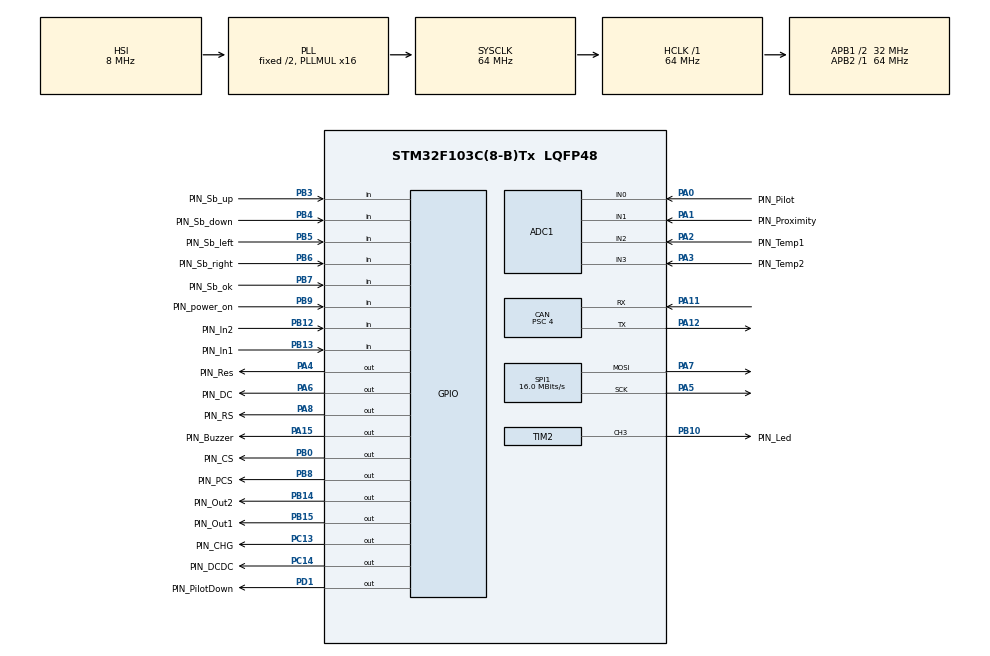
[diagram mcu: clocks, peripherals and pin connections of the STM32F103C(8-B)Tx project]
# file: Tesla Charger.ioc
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ADC1.Channel-0\#ChannelRegularConversion=ADC_CHANNEL_0
ADC1.NbrOfConversionFlag=1
ADC1.Rank-0\#ChannelRegularConversion=1
ADC1.SamplingTime-0\#ChannelRegularConversion=ADC_SAMPLETIME_1CYCLE_5
ADC1.master=1
CAN.ABOM=DISABLE
CAN.AWUM=DISABLE
CAN.BS1=CAN_BS1_13TQ
CAN.BS2=CAN_BS2_2TQ
CAN.CalculateBaudRate=500000
CAN.CalculateTimeBit=2000
CAN.CalculateTimeQuantum=125.0
CAN.Mode=CAN_MODE_NORMAL
CAN.NART=ENABLE
CAN.Prescaler=4
CAN.RFLM=DISABLE
CAN.SJW=CAN_SJW_1TQ
CAN.TTCM=DISABLE
CAN.TXFP=ENABLE
Mcu.Family=STM32F1
Mcu.Name=STM32F103C(8-B)Tx
Mcu.Package=LQFP48
NVIC.CAN1_SCE_IRQn=true\:0\:0\:true\:false\:true\:true\:true\:true
NVIC.PriorityGroup=NVIC_PRIORITYGROUP_4
NVIC.TIM1_UP_IRQn=true\:0\:0\:true\:false\:true\:true\:true\:true
NVIC.USB_LP_CAN1_RX0_IRQn=true\:0\:0\:true\:false\:true\:true\:true\:true
PA0-WKUP.GPIO_Label=PIN_Pilot
PA0-WKUP.Signal=ADCx_IN0
PA1.GPIO_Label=PIN_Proximity
PA1.Signal=ADCx_IN1
PA11.GPIO_PuPd=GPIO_PULLUP
PA11.Mode=CAN_Activate
PA11.Signal=CAN_RX
PA12.Mode=CAN_Activate
PA12.Signal=CAN_TX
PA13.Mode=Serial_Wire
PA13.Signal=SYS_JTMS-SWDIO
PA14.Mode=Serial_Wire
PA14.Signal=SYS_JTCK-SWCLK
PA15.GPIO_Label=PIN_Buzzer
PA15.Signal=GPIO_Output
PA2.GPIO_Label=PIN_Temp1
PA2.Signal=ADCx_IN2
PA3.GPIO_Label=PIN_Temp2
PA3.Signal=ADCx_IN3
PA4.GPIO_Label=PIN_Res
PA4.Signal=GPIO_Output
PA5.Mode=TX_Only_Simplex_Unidirect_Master
PA5.Signal=SPI1_SCK
PA6.GPIO_Label=PIN_DC
PA6.Signal=GPIO_Output
PA7.Mode=TX_Only_Simplex_Unidirect_Master
PA7.Signal=SPI1_MOSI
PA8.GPIO_Label=PIN_RS
PA8.Signal=GPIO_Output
PB0.GPIO_Label=PIN_CS
PB0.Signal=GPIO_Output
PB10.GPIO_Label=PIN_Led
PB10.Signal=S_TIM2_CH3
PB12.GPIO_Label=PIN_In2
PB12.Signal=GPIO_Input
PB13.GPIO_Label=PIN_In1
PB13.Signal=GPIO_Input
PB14.GPIO_Label=PIN_Out2
PB14.Signal=GPIO_Output
PB15.GPIO_Label=PIN_Out1
PB15.Signal=GPIO_Output
PB3.GPIO_Label=PIN_Sb_up
PB3.GPIO_PuPd=GPIO_PULLUP
PB3.Signal=GPIO_Input
PB4.GPIO_Label=PIN_Sb_down
PB4.GPIO_PuPd=GPIO_PULLUP
PB4.Signal=GPIO_Input
PB5.GPIO_Label=PIN_Sb_left
PB5.GPIO_PuPd=GPIO_PULLUP
PB5.Signal=GPIO_Input
PB6.GPIO_Label=PIN_Sb_right
PB6.GPIO_PuPd=GPIO_PULLUP
PB6.Signal=GPIO_Input
PB7.GPIO_Label=PIN_Sb_ok
PB7.GPIO_PuPd=GPIO_PULLUP
PB7.Signal=GPIO_Input
PB8.GPIO_Label=PIN_PCS
PB8.Signal=GPIO_Output
PB9.GPIO_Label=PIN_power_on
PB9.GPIO_PuPd=GPIO_PULLUP
PB9.Signal=GPIO_Input
PC13-TAMPER-RTC.GPIO_Label=PIN_CHG
PC13-TAMPER-RTC.Signal=GPIO_Output
PC14-OSC32_IN.GPIO_Label=PIN_DCDC
PC14-OSC32_IN.Signal=GPIO_Output
PD1-OSC_OUT.GPIO_Label=PIN_PilotDown
PD1-OSC_OUT.Signal=GPIO_Output
ProjectManager.HeapSize=0x200
ProjectManager.StackSize=0x400
ProjectManager.TargetToolchain=STM32CubeIDE
RCC.ADCPresc=RCC_ADCPCLK2_DIV8
RCC.AHBFreq_Value=64000000
RCC.APB1CLKDivider=RCC_HCLK_DIV2
RCC.APB1Freq_Value=32000000
RCC.APB1TimFreq_Value=64000000
RCC.APB2Freq_Value=64000000
RCC.APB2TimFreq_Value=64000000
RCC.HCLKFreq_Value=64000000
RCC.PLLMUL=RCC_PLL_MUL16
RCC.SYSCLKFreq_VALUE=64000000
RCC.SYSCLKSource=RCC_SYSCLKSOURCE_PLLCLK
RCC.USBFreq_Value=64000000
SH.ADCx_IN0.0=ADC1_IN0,IN0
SH.ADCx_IN1.0=ADC1_IN1,IN1
SH.ADCx_IN2.0=ADC1_IN2,IN2
SH.ADCx_IN3.0=ADC1_IN3,IN3
SH.S_TIM2_CH3.0=TIM2_CH3,PWM Generation3 CH3
SPI1.BaudRatePrescaler=SPI_BAUDRATEPRESCALER_4
SPI1.CalculateBaudRate=16.0 MBits/s
SPI1.Direction=SPI_DIRECTION_2LINES
SPI1.Mode=SPI_MODE_MASTER
SPI1.VirtualType=VM_MASTER
TIM1.Period=999
TIM1.Prescaler=639
TIM2.Channel-PWM\ Generation3\ CH3=TIM_CHANNEL_3
TIM2.Period=100
TIM2.Prescaler=119
TIM2.Pulse-PWM\ Generation3\ CH3=18
VP_TIM1_VS_ClockSourceINT.Mode=Internal
VP_TIM2_VS_ClockSourceINT.Mode=Internal
board=custom

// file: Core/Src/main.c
/* USER CODE BEGIN Header */
/**
  ******************************************************************************
  * @file           : main.c
  * @brief          : Main program body with Tesla Model 3 PCS logic
  ******************************************************************************
  * @attention
  *
  * Copyright (c) 2024 STMicroelectronics.
  * All rights reserved.
  *
  * This software is licensed under terms that can be found in the LICENSE file
  * in the root directory of this software component.
  * If no LICENSE file comes with this software, it is provided AS-IS.
  *
  ******************************************************************************
  */
/* USER CODE END Header */

#include "main.h"

/* USER CODE BEGIN Includes */
#include "defines.h"
#include "ili9341.h"
#include "pcs_protocol.h"
#include "registers.h"
#include <stdbool.h>
/* USER CODE END Includes */

/* USER CODE BEGIN PD */
#define CAN_TX_QUEUE_SIZE          32U
#define CAN_BUSY_TIMEOUT_MS        100U  // Таймаут зависания Mailbox
#define PCS_WAKE_DELAY_MS          2000U // Время начального пробуждения PCS
#define PCS_READY_TIMEOUT_MS       5000U
#define PCS_RX_TIMEOUT_MS          1000U
#define PCS_HV_RX_TIMEOUT_MS       2500U
#define PCS_HV_MIN_V               276U  // Минимальное рабочее напряжение ВВ батареи
#define PCS_HV_MAX_V               420U  // Максимальное напряжение (расширено под US)
#define PCS_AC_START_MIN_V         180U  // Для этой установки: стабильная сеть 220 В
#define PCS_AC_HOLD_MIN_V          80U   // Гистерезис отключения при пропадании сети
#define PCS_AC_STABLE_MS           1000U
#define PCS_AC_DROP_MS             500U
#define CHARGE_RAMP_STEP_W         10U   // Шаг плавного набора мощности заряда (Ваты)
#define CHARGE_RAMP_DOWN_STEP_W    100U  // Снижение мощности быстрее повышения
#define CHARGE_CURRENT_MAX_A       16U   // Жёсткий предел запроса этой прошивки
#define CHARGE_OVERCURRENT_MARGIN_A 2U  // CAN guard; не заменяет автомат/предохранитель
#define CHARGE_CABLE_CAPABILITY_A  32U   // Паспорт кабеля, не команда тока
#define CHARGE_UI_CAPABILITY_A     48U   // UI capability из эталонного профиля
#define CHARGE_NOMINAL_AC_V        230U  // Подстановка только до первого валидного 0x264
#define CHARGE_AC_MAX_V            260U  // Защита расчёта от ошибочного значения CAN
#define CHARGE_PHYSICAL_POWER_MAX_W 4000U // Реальная цель остаётся не выше 16 А
#define PCS_CHARGE_PORT_PROFILE    PCS_CHARGE_PORT_EU // Euro IEC, менять только без AC
#define PCS_2B2_START_SHORT        0U    // Этот PCS требует новый формат DLC 5
#define AUTO_CHARGE_FROM_AC        1U    // Нет charge port/EVSE: старт по реальному 0x264
#define FIRMWARE_LABEL             "PCS 0.1 EU"
/* USER CODE END PD */

ADC_HandleTypeDef hadc1;
CAN_HandleTypeDef hcan;
SPI_HandleTypeDef hspi1;
TIM_HandleTypeDef htim1;
TIM_HandleTypeDef htim2;

/* USER CODE BEGIN PV */
typedef enum
{
  PCS_STATE_BOOT = 0,
  PCS_STATE_STANDBY = 1,
  PCS_STATE_WAIT_READY = 2,
  PCS_STATE_RAMP = 3,
  PCS_STATE_CHARGING = 4,
  PCS_STATE_FAULT_CAN = 10,
  PCS_STATE_FAULT_HV = 11,
  PCS_STATE_FAULT_AC = 12,
  PCS_STATE_FAULT_PCS = 13,
  PCS_STATE_FAULT_OVERCURRENT = 14
} PCS_ControlState;

typedef struct
{
  CAN_TxHeaderTypeDef header;
  uint8_t data[8];
} CAN_QueuedFrame;

static CAN_QueuedFrame canTxQueue[CAN_TX_QUEUE_SIZE];
static uint8_t canTxHead = 0;
static uint8_t canTxTail = 0;

static volatile _Bool task10ms = false;
static volatile _Bool task50ms = false;
static volatile _Bool task100ms = false;
static volatile uint32_t schedulerMisses = 0;

static volatile uint32_t canTxOk = 0;
static volatile uint32_t canTxErrors = 0;
static volatile uint32_t canTxQueueOverflows = 0;
static volatile uint32_t canErrorEvents = 0;
static volatile uint32_t canLastError = 0;
static volatile uint32_t canLastEsr = 0;
static volatile uint32_t canHardwareResets = 0;

static volatile uint32_t lastPcsRxMs = 0;
static volatile uint32_t last204Ms = 0;
static volatile uint32_t last224Ms = 0;
static volatile uint32_t last264Ms = 0;
static volatile uint32_t last2B4Ms = 0;
static volatile uint32_t last2C4Ms = 0;
static volatile uint32_t rx204Count = 0;
static volatile uint32_t rx224Count = 0;
static volatile uint32_t rx264Count = 0;
static volatile uint32_t rx2B4Count = 0;
static volatile uint32_t rx2C4Count = 0;
static uint32_t lastMailboxFreeMs = 0;

static PCS_ControlState controlState = PCS_STATE_BOOT;
static uint32_t stateEnteredMs = 0;
static uint8_t buttonStable = 1;
static uint8_t buttonSample = 1;
static uint8_t buttonDebounceCount = 0;
static uint32_t acPresentSinceMs = 0;
static uint32_t acAbsentSinceMs = 0;
static _Bool autoStartArmed = true;

/* USER CODE END PV */

void SystemClock_Config(void);
static void MX_GPIO_Init(void);
static void MX_ADC1_Init(void);
static void MX_CAN_Init(void);
static void MX_SPI1_Init(void);
static void MX_TIM1_Init(void);
static void MX_TIM2_Init(void);
/* USER CODE BEGIN PFP */
static void set_control_state(PCS_ControlState newState);
static _Bool elapsed_ms(uint32_t since, uint32_t interval);
static _Bool can_queue_frame(CAN_TxHeaderTypeDef *pHeader, uint8_t *pData);
static void can_service_tx(void);
static void PCS_cksum_local(uint8_t *data, uint16_t id);
static void control_step_100ms(void);
static void sample_charge_button(void);
static void update_auto_charge_request(_Bool acStartValid, _Bool acHoldValid);
static void update_charge_setpoints(void);
static _Bool ramp_charge_power(void);
static void stop_charge(void);
static void apply_output_state(void);
void send_mes_10(void);
void send_mes_50(void);
void send_mes_100(void);
void get_HV(void);
/* USER CODE END PFP */

/* USER CODE BEGIN 0 */
static void set_control_state(PCS_ControlState newState)
{
  controlState = newState;
  stateEnteredMs = HAL_GetTick();
}

static _Bool elapsed_ms(uint32_t since, uint32_t interval)
{
  return (uint32_t)(HAL_GetTick() - since) >= interval;
}

static _Bool can_queue_frame(CAN_TxHeaderTypeDef *pHeader, uint8_t *pData)
{
  uint32_t primask = __get_PRIMASK();
  __disable_irq();

  uint8_t next = (uint8_t)((canTxHead + 1U) % CAN_TX_QUEUE_SIZE);
  if (next == canTxTail)
  {
    canTxQueueOverflows++;
    if (primask == 0U) { __enable_irq(); }
    return false;
  }

  canTxQueue[canTxHead].header = *pHeader;
  uint8_t dlc = (pHeader->DLC > 8) ? 8 : pHeader->DLC;
  for (uint8_t i = 0; i < dlc; i++)
  {
    canTxQueue[canTxHead].data[i] = pData[i];
  }
  canTxHead = next;

  if (primask == 0U) { __enable_irq(); }
  return true;
}

static void can_service_tx(void)
{
  uint32_t now = HAL_GetTick();

  // 1. Проверяем наличие свободных ящиков (Mailboxes) в контроллере CAN
  if (HAL_CAN_GetTxMailboxesFreeLevel(&hcan) > 0U)
  {
    lastMailboxFreeMs = now;
  }
  else
  {
    // Если все ящики заняты дольше таймаута (Bus-Off или зависание шины) — сбрасываем запросы
    if ((now - lastMailboxFreeMs) > CAN_BUSY_TIMEOUT_MS)
    {
      canHardwareResets++;
      HAL_CAN_AbortTxRequest(&hcan, CAN_TX_MAILBOX0 | CAN_TX_MAILBOX1 | CAN_TX_MAILBOX2);

      __disable_irq();
      canTxTail = canTxHead; // Очищаем кольцевой буфер очереди
      __enable_irq();

      lastMailboxFreeMs = HAL_GetTick();
      return;
    }
  }

  // 2. Цикл отправки пакетов из кольцевого буфера очереди в физическую шину
  while (canTxTail != canTxHead)
  {
    // Если в железе STM32 временно кончились свободные почтовые ящики — прерываем цикл до следующего вызова
    if (HAL_CAN_GetTxMailboxesFreeLevel(&hcan) == 0U)
    {
      break;
    }

    uint32_t mailbox = 0;

    // СТРОГО СТАНДАРТНЫЙ ВЫЗОВ HAL. Все экспериментальные хаки TIR удалены!
    // Драйвер HAL сам корректно разложит байты мощности пакета 0x2B2 по регистрам данных.
    HAL_StatusTypeDef status = HAL_CAN_AddTxMessage(
        &hcan,
        &canTxQueue[canTxTail].header,
        canTxQueue[canTxTail].data,
        &mailbox);

    if (status == HAL_OK)
    {
      // Пакет успешно скопирован в железный ящик микросхемы и улетит в сеть автоматически
      canTxTail = (uint8_t)((canTxTail + 1U) % CAN_TX_QUEUE_SIZE);
      canTxOk++;
    }
    else if (status == HAL_BUSY)
    {
      break;
    }
    else
    {
      // Обработка критической ошибки отправки
      canTxErrors++;
      canLastError = HAL_CAN_GetError(&hcan);
      canTxTail = (uint8_t)((canTxTail + 1U) % CAN_TX_QUEUE_SIZE);
    }
  }
}

void get_HV(void)
{
  uint16_t cell_med = HVvolts / 0.88;

  if (cell_med >= 420) { cell_SOC = 100; return; }
  if (cell_med >= 414) { cell_SOC = 95;  return; }
  if (cell_med >= 408) { cell_SOC = 90;  return; }
  if (cell_med >= 402) { cell_SOC = 85;  return; }
  if (cell_med >= 396) { cell_SOC = 80;  return; }
  if (cell_med >= 390) { cell_SOC = 75;  return; }
  if (cell_med >= 384) { cell_SOC = 70;  return; }
  if (cell_med >= 378) { cell_SOC = 65;  return; }
  if (cell_med >= 372) { cell_SOC = 60;  return; }
  if (cell_med >= 366) { cell_SOC = 55;  return; }
  if (cell_med >= 360) { cell_SOC = 50;  return; }
  if (cell_med >= 354) { cell_SOC = 45;  return; }
  if (cell_med >= 348) { cell_SOC = 40;  return; }
  if (cell_med >= 342) { cell_SOC = 35;  return; }
  if (cell_med >= 336) { cell_SOC = 30;  return; }
  if (cell_med >= 330) { cell_SOC = 25;  return; }
  if (cell_med >= 324) { cell_SOC = 20;  return; }
  if (cell_med >= 318) { cell_SOC = 15;  return; }
  if (cell_med >= 312) { cell_SOC = 10;  return; }
  if (cell_med >= 306) { cell_SOC = 5;   return; }else{cell_SOC = 0;};

}

void PCS_Send_Power_Request(uint16_t power_watts, uint8_t chg_active)
{
  CAN_TxHeaderTypeDef header = {0};
  uint8_t local_pwr_buffer[5] = {0};
  _Bool enabled = chg_active &&
      (controlState == PCS_STATE_RAMP || controlState == PCS_STATE_CHARGING);

  header.StdId = 0x2B2;
  header.ExtId = 0x00;
  header.RTR = CAN_RTR_DATA;
  header.IDE = CAN_ID_STD;
  header.DLC = PCS_Encode2B2(local_pwr_buffer, power_watts, enabled, Short2B2);
  header.TransmitGlobalTime = DISABLE;

  dbg_tx2B2_dlc = header.DLC;
  for (uint8_t i = 0; i < 5U; i++)
  {
    dbg_tx2B2[i] = local_pwr_buffer[i];
  }

  can_queue_frame(&header, local_pwr_buffer);
}

static void apply_output_state(void)
{
  if (pcs_w)  { pcs_on;  } else { pcs_off;  }
  if (dcdc_w) { dcdc_on; } else { dcdc_off; }
  if (chg_w)  { chg_on;  } else { chg_off;  }
}

static void stop_charge(void)
{
  CHGpwr = 0;
  chg_w = 0;
  apply_output_state();
}

static void sample_charge_button(void)
{
  uint8_t sample = (sb_up == GPIO_PIN_SET) ? 1U : 0U;

  if (sample != buttonSample)
  {
    buttonSample = sample;
    buttonDebounceCount = 0;
    return;
  }

  if (buttonDebounceCount < 3U)
  {
    buttonDebounceCount++;
    return;
  }

  if (buttonStable != buttonSample)
  {
    buttonStable = buttonSample;
    if (buttonStable == 0U)
    {
      chg_request = !chg_request;
      buzzer_on;
      t_buzzer = 2;
    }
  }
}

static void update_auto_charge_request(_Bool acStartValid, _Bool acHoldValid)
{
#if AUTO_CHARGE_FROM_AC
  uint32_t now = HAL_GetTick();

  if (acStartValid)
  {
    acAbsentSinceMs = 0U;
    if (acPresentSinceMs == 0U)
    {
      acPresentSinceMs = (now == 0U) ? 1U : now;
    }

    if (autoStartArmed && (uint32_t)(now - acPresentSinceMs) >= PCS_AC_STABLE_MS)
    {
      chg_request = 1;
      autoStartArmed = false;
      buzzer_on;
      t_buzzer = 2;
    }
  }
  else if (!acHoldValid)
  {
    acPresentSinceMs = 0U;
    if (acAbsentSinceMs == 0U)
    {
      acAbsentSinceMs = (now == 0U) ? 1U : now;
    }

    if ((uint32_t)(now - acAbsentSinceMs) >= PCS_AC_DROP_MS)
    {
      chg_request = 0;
      autoStartArmed = true;
    }
  }
#else
  (void)acStartValid;
  (void)acHoldValid;
#endif
}

static void update_charge_setpoints(void)
{
  uint16_t calculationVoltage = CHARGE_NOMINAL_AC_V;
  uint8_t appliedCurrent = PCS_ClampChargeCurrent(CHGcurrentSetpointA,
                                                   CHARGE_CURRENT_MAX_A);

  if ((ACvolts >= PCS_AC_HOLD_MIN_V) && (ACvolts <= CHARGE_AC_MAX_V))
  {
    calculationVoltage = ACvolts;
  }

  CHGcurrentAppliedA = appliedCurrent;
  ACILim = appliedCurrent;
  CHGdesiredPowerTargetW = PCS_CalculateChargePowerTarget(
      appliedCurrent, calculationVoltage, CHARGE_PHYSICAL_POWER_MAX_W);
  CHGpowerRequestMultiplier = 1U;
  CHGpwrTarget = CHGdesiredPowerTargetW;

  /* Нулевой регистр означает немедленный безопасный запрос 0 W. */
  if (appliedCurrent == 0U)
  {
    CHGpwr = 0U;
  }
}

static _Bool ramp_charge_power(void)
{
  uint16_t rampUpStep = CHARGE_RAMP_STEP_W;
  uint16_t rampDownStep = CHARGE_RAMP_DOWN_STEP_W;

  if (CHGpwr < CHGpwrTarget)
  {
    uint16_t nextPower = (uint16_t)(CHGpwr + rampUpStep);
    CHGpwr = (nextPower > CHGpwrTarget) ? CHGpwrTarget : nextPower;
  }
  else if (CHGpwr > CHGpwrTarget)
  {
    uint16_t delta = (uint16_t)(CHGpwr - CHGpwrTarget);
    CHGpwr = (delta > rampDownStep)
        ? (uint16_t)(CHGpwr - rampDownStep)
        : CHGpwrTarget;
  }

  return CHGpwr == CHGpwrTarget;
}

static void control_step_100ms(void)
{
  uint32_t now = HAL_GetTick();
  _Bool pcsCommsRecent = (lastPcsRxMs != 0U) && ((uint32_t)(now - lastPcsRxMs) < PCS_RX_TIMEOUT_MS);
  _Bool hvRecent = (last2C4Ms != 0U) && ((uint32_t)(now - last2C4Ms) < PCS_HV_RX_TIMEOUT_MS);
  _Bool hvValid = hvRecent && (HVvolts >= PCS_HV_MIN_V) && (HVvolts <= PCS_HV_MAX_V);
  _Bool acRecent = (last264Ms != 0U) && ((uint32_t)(now - last264Ms) < PCS_RX_TIMEOUT_MS);
  _Bool acStartValid = acRecent && (ACvolts >= PCS_AC_START_MIN_V);
  _Bool acHoldValid = acRecent && (ACvolts >= PCS_AC_HOLD_MIN_V);
  _Bool pcsStatusRecent = (last204Ms != 0U) && ((uint32_t)(now - last204Ms) < PCS_RX_TIMEOUT_MS);
  _Bool pcsFault = pcsStatusRecent && ((pcs_main_state == 8U) || (pcs_hv_charge_status == 3U));
  _Bool acOverCurrent;

  update_charge_setpoints();
  acOverCurrent = acRecent && PCS_IsChargeOverCurrent(
      ACamps, CHGcurrentAppliedA, CHARGE_OVERCURRENT_MARGIN_A);
  sample_charge_button();
  update_auto_charge_request(acStartValid, acHoldValid);
  ac_w = acHoldValid;

  switch (controlState)
  {
    case PCS_STATE_BOOT:
      pcs_w = 1;
      dcdc_w = 1;
      chg_w = 0;
      CHGpwr = 0;
      apply_output_state();
      if (elapsed_ms(stateEnteredMs, PCS_WAKE_DELAY_MS))
      {
        set_control_state(PCS_STATE_STANDBY);
      }
      break;

    case PCS_STATE_STANDBY:
      stop_charge();
      if (chg_request)
      {
        dcdc_w = 1;
        chg_w = 0;
        CHGpwr = 0;
        apply_output_state();
        set_control_state(PCS_STATE_WAIT_READY);
      }
      break;

    case PCS_STATE_WAIT_READY:
      if (!chg_request)
      {
        stop_charge();
        set_control_state(PCS_STATE_STANDBY);
      }
      else if (pcsCommsRecent && hvValid && acStartValid && !pcsFault &&
               elapsed_ms(stateEnteredMs, 500U))
      {
        chg_w = 1;
        apply_output_state();
        CHGpwr = 0;
        set_control_state(PCS_STATE_RAMP);
      }
      else if (elapsed_ms(stateEnteredMs, PCS_READY_TIMEOUT_MS))
      {
        chg_request = 0;
        stop_charge();
        if (!pcsCommsRecent)      { set_control_state(PCS_STATE_FAULT_CAN); }
        else if (!hvValid)        { set_control_state(PCS_STATE_FAULT_HV);  }
        else if (!acStartValid)   { set_control_state(PCS_STATE_FAULT_AC);  }
        else                      { set_control_state(PCS_STATE_FAULT_PCS); }
      }
      break;

    case PCS_STATE_RAMP:
      if (!chg_request)
      {
        stop_charge();
        set_control_state(PCS_STATE_STANDBY);
      }
      else if (!pcsCommsRecent)
      {
        chg_request = 0;
        stop_charge();
        set_control_state(PCS_STATE_FAULT_CAN);
      }
      else if (acOverCurrent)
      {
        chg_request = 0;
        stop_charge();
        charge_overcurrent_trip_count++;
        set_control_state(PCS_STATE_FAULT_OVERCURRENT);
      }
      else if (!hvValid)
      {
        chg_request = 0;
        stop_charge();
        set_control_state(PCS_STATE_FAULT_HV);
      }
      else if (pcsFault)
      {
        chg_request = 0;
        stop_charge();
        set_control_state(PCS_STATE_FAULT_PCS);
      }
      else if (!acHoldValid && elapsed_ms(stateEnteredMs, 3000U))
      {
        chg_request = 0;
        stop_charge();
        set_control_state(PCS_STATE_FAULT_AC);
      }
      else if (ramp_charge_power())
      {
        set_control_state(PCS_STATE_CHARGING);
      }
      break;

    case PCS_STATE_CHARGING:
      if (!chg_request)
      {
        stop_charge();
        set_control_state(PCS_STATE_STANDBY);
      }
      else if (acOverCurrent)
      {
        chg_request = 0;
        stop_charge();
        charge_overcurrent_trip_count++;
        set_control_state(PCS_STATE_FAULT_OVERCURRENT);
      }
      else if (!pcsCommsRecent || !hvValid || !acHoldValid || pcsFault)
      {
        chg_request = 0;
        stop_charge();
        if (!pcsCommsRecent)      { set_control_state(PCS_STATE_FAULT_CAN); }
        else if (!hvValid)        { set_control_state(PCS_STATE_FAULT_HV); }
        else if (!acHoldValid)    { set_control_state(PCS_STATE_FAULT_AC); }
        else                      { set_control_state(PCS_STATE_FAULT_PCS); }
      }
      else
      {
        /* Регистр можно менять во время зарядки в обе стороны. */
        ramp_charge_power();
      }
      break;

    case PCS_STATE_FAULT_CAN:
    case PCS_STATE_FAULT_HV:
    case PCS_STATE_FAULT_AC:
    case PCS_STATE_FAULT_PCS:
    case PCS_STATE_FAULT_OVERCURRENT:
      stop_charge();
      if (chg_request)
      {
        set_control_state(PCS_STATE_STANDBY);
      }
      break;

    default:
      chg_request = 0;
      stop_charge();
      set_control_state(PCS_STATE_FAULT_CAN);
      break;
  }
}

void HAL_CAN_RxFifo0MsgPendingCallback(CAN_HandleTypeDef *canHandle)
{
  CAN_RxHeaderTypeDef RxHeader;
  uint8_t RxData[8] = {0};

  if (HAL_CAN_GetRxMessage(canHandle, CAN_RX_FIFO0, &RxHeader, RxData) != HAL_OK)
  {
    return;
  }

  uint32_t now = HAL_GetTick();
  rxmess++;

  if ((RxHeader.StdId == 0x264U) && (RxHeader.DLC >= 6U))
  {
    PCS_ChargeLineStatus line;
    PCS_Decode264(RxData, &line);

    RX264 = 1;
    rx264Count++;
    last264Ms = now;
    lastPcsRxMs = now;
    ac_voltage_raw = line.voltageRaw;
    ac_current_raw = line.currentRaw;
    AClim = line.currentLimitAmps;
    ACpwr = (uint16_t)line.powerDeciKw * 100U; /* Display watts, 0.1 kW/bit. */
    ACvolts = line.voltageVolts;
    ACamps = line.currentAmps;
  }

  if ((RxHeader.StdId == 0x224U) && (RxHeader.DLC >= 7U))
  {
    RX224 = 1;
    rx224Count++;
    last224Ms = now;
    lastPcsRxMs = now;
    dcdc_legacy_current_raw =
        (((uint16_t)RxData[3] << 8) | RxData[2]) & 0x0FFFU;
    if ((last2B4Ms == 0U) || ((uint32_t)(now - last2B4Ms) >= PCS_RX_TIMEOUT_MS))
    {
      DCDCamps = (uint16_t)((dcdc_legacy_current_raw + 5U) / 10U);
    }
    pin_dcdc_status = RxData[6];
  }

  if ((RxHeader.StdId == 0x2B4U) && (RxHeader.DLC >= 5U))
  {
    PCS_DcdcRailStatus rail;
    PCS_Decode2B4(RxData, &rail);

    rx2B4Count++;
    last2B4Ms = now;
    lastPcsRxMs = now;
    dcdc_lv_voltage_raw = rail.lvVoltageRaw;
    dcdc_hv_voltage_raw = rail.hvVoltageRaw;
    dcdc_output_current_raw = rail.outputCurrentRaw;
    DCDCvolts = rail.lvVoltageVolts;
    LVvolts = rail.lvVoltageVolts;
    DCDCamps = rail.outputCurrentAmps;
  }

  /* 0x2C4 belongs to the PCS. Never transmit a synthetic frame with this ID. */
  if ((RxHeader.StdId == 0x2C4U) && (RxHeader.DLC >= 8U))
  {
    uint8_t muxId = RxData[0];
    RX2C4 = 1;
    rx2C4Count++;
    lastPcsRxMs = now;

    if ((muxId == 0xE6U) || (muxId == 0xC6U))
    {
      HVvolts = (uint16_t)((((uint16_t)RxData[3] << 8 | RxData[2]) & 0x0FFFU) * 0.146484f);
      LVvolts = (uint16_t)((((uint16_t)RxData[1] << 9 | RxData[0]) >> 6) * 0.0390625f);
      last2C4Ms = now;
    }
    else if (muxId == 0x04U)
    {
      HVvolts = (uint16_t)(((((uint16_t)RxData[7] << 8 | RxData[6]) >> 3) & 0x0FFFU) * 0.146484f);
      last2C4Ms = now;
    }
  }

  if ((RxHeader.StdId == 0x204U) && (RxHeader.DLC >= 8U))
  {
    PCS_ChargerStatus status;
    PCS_Decode204(RxData, &status);

    rx204Count++;
    last204Ms = now;
    lastPcsRxMs = now;
    pcs_main_state = status.mainState;
    pcs_hv_charge_status = status.hvChargeStatus;
    pcs_grid_config = status.gridConfig;
    pcs_pwm_enable_line = status.pwmEnableLine;
    pcs_hw_variant = status.hardwareVariant;
    pcs_shutdown_request = status.shutdownRequest;
    pcs_instant_ac_power_deci_kw = status.instantAcPowerDeciKw;
    pcs_max_ac_power_deci_kw = status.maximumAcPowerDeciKw;
    pcs_phase_a_request_deci_amps = status.phaseACurrentRequestDeciAmps;
    pcs_phase_b_request_deci_amps = status.phaseBCurrentRequestDeciAmps;
    pcs_phase_c_request_deci_amps = status.phaseCCurrentRequestDeciAmps;
    pcs_active_charge_branches = status.phaseAEnabled + status.phaseBEnabled +
                                 status.phaseCEnabled;
    pcs_ac_current_request_deci_amps =
        PCS_CalculateAcCurrentRequestDeciAmps(&status);
    pcs_ac_current_request_amps =
        (uint8_t)((pcs_ac_current_request_deci_amps + 5U) / 10U);
    pcs_status = status.mainState;
    pin_chg_status = status.pwmEnableLine;
  }

  if ((RxHeader.StdId == 0x76CU) && (RxHeader.DLC >= 8U))
  {
    PCS_ChargePhaseDebug phase;

    rx76CCount++;
    lastPcsRxMs = now;
    pcs_debug_mux76c = RxData[0];
    if (PCS_Decode76CChargePhase(RxData, &phase))
    {
      uint8_t index = phase.phaseIndex;
      pcs_charge_phase_current_raw[index] = phase.currentRaw;
      pcs_charge_phase_current_milliamps[index] = phase.currentMilliAmps;
      rx76CPhaseCount[index]++;
      for (uint8_t i = 0U; i < 8U; i++)
      {
        dbg_rx76C_phase[index][i] = RxData[i];
      }
      pcs_charge_phase_current_total_milliamps =
          (uint16_t)(pcs_charge_phase_current_milliamps[0] +
                     pcs_charge_phase_current_milliamps[1] +
                     pcs_charge_phase_current_milliamps[2]);
    }
  }

  if ((RxHeader.StdId == 0x3A4U) && (RxHeader.DLC >= 8U))
  {
    PCS_AlertMatrixStatus alerts;

    PCS_Decode3A4(RxData, &alerts);
    rx3A4Count++;
    lastPcsRxMs = now;
    pcs_alert_page = alerts.page;

    if (alerts.page < 2U)
    {
      rx3A4PageCount[alerts.page]++;
      for (uint8_t i = 0U; i < 8U; i++)
      {
        dbg_rx3A4_page[alerts.page][i] = RxData[i];
      }
    }

    if (alerts.page == 0U)
    {
      pcs_alert_hvp_mia_active = alerts.hvpMia;
      pcs_alert_bms_mia_active = alerts.bmsMia;
      pcs_alert_cp_mia_active = alerts.cpMia;
      pcs_alert_vcfront_mia_active = alerts.vcfrontMia;
      pcs_alert_charge_power_rationality_active = alerts.chargePowerRationality;
      pcs_alert_can_rationality_active = alerts.canRationality;
      pcs_alert_ui_mia_active = alerts.uiMia;
    }
  }

  if ((RxHeader.StdId == 0x424U) && (RxHeader.DLC >= 1U))
  {
    uint8_t receivedDlc = (RxHeader.DLC > 8U) ? 8U : (uint8_t)RxHeader.DLC;

    rx424Count++;
    lastPcsRxMs = now;
    pcs_last_alert_id = RxData[0];
    dbg_rx424_dlc = receivedDlc;
    for (uint8_t i = 0U; i < 8U; i++)
    {
      dbg_rx424[i] = (i < receivedDlc) ? RxData[i] : 0U;
    }
    pcs_alert_matrix[PCS_AlertCnt & (PCS_ALERT_MATRIX_SIZE - 1U)] = RxData[0];
    PCS_AlertCnt = (uint8_t)((PCS_AlertCnt + 1U) & (PCS_ALERT_MATRIX_SIZE - 1U));

    if ((RxData[0] == 0x1EU) && (receivedDlc >= 5U)) /* CAN rationality alert */
    {
      pcs_alert_rx_error = RxData[2] & 0x07U;
      pcs_alert_can_id = ((uint16_t)RxData[4] << 8) | RxData[3];
      AlertRxError = pcs_alert_rx_error;
      AlertCANId = pcs_alert_can_id;

      if (pcs_alert_can_id == 0x2B2U)
      {
        if (pcs_alert_rx_error == 0x02U) { Short2B2 = false; } /* 3 bytes too short */
        if (pcs_alert_rx_error == 0x01U) { Short2B2 = true;  } /* 5 bytes too long */
      }
    }
  }
}

static void PCS_cksum_local(uint8_t *data, uint16_t id)
{
  uint16_t checksum_calc = 0;
  for(int b = 0; b < 7; b++)
  {
    checksum_calc += data[b];
  }
  // ИСПРАВЛЕНИЕ: Берем строго байты ID отдельно, а не складываем ID целиком
  checksum_calc += (uint8_t)(id & 0xFF);
  checksum_calc += (uint8_t)((id >> 8) & 0xFF);

  data[7] = (uint8_t)(checksum_calc & 0xFF);
}

void send_mes_10(void)
{
  CAN_TxHeaderTypeDef header = {0};
  uint8_t buffer[8] = {0};

  pcs_counter = (pcs_counter + 1) & 0x0F;
  header.IDE = CAN_ID_STD;
  header.RTR = CAN_RTR_DATA;
  header.ExtId = 0;
  //-----------------------------------------------------------------------------------------

  /*
   * 0x2C4 is deliberately not transmitted here. It is a PCS-originated
   * logging frame; transmitting a synthetic 0x2C4 caused an ID collision and
   * hid the real HV measurement in the capture.
   */

  /* Post-2020 CP charge-status message and AC input current limit. */
  header.StdId = 0x13D;
  header.DLC = 6;
  PCS_Encode13D(buffer, ACILim,
      controlState == PCS_STATE_RAMP || controlState == PCS_STATE_CHARGING);
  can_queue_frame(&header, buffer);

  /* Hardware-validated 0x22A variant from the working local firmware. */
  header.StdId = 0x22A;
  header.DLC = 8;
  header.RTR = CAN_RTR_DATA;

  for (uint8_t i = 0U; i < 8U; i++)
  {
    buffer[i] = 0x00U;
  }

  /* 0x0B00 = проверенный на этом PCS запрос precharge 281,6 В. */
  buffer[0] = 0x00U;
  buffer[1] = 0x0BU;

  if (controlState == PCS_STATE_RAMP || controlState == PCS_STATE_CHARGING)
  {
    buffer[2] = 0x7DU;
  }
  else if (dcdc_w && chg_w) { buffer[2] = 0x7DU; }
  else if (dcdc_w)          { buffer[2] = 0x79U; }
  else if (chg_w)           { buffer[2] = 0x74U; }
  else                      { buffer[2] = 0x70U; }

  if (HVvolts > 50U)
  {
    buffer[3] = (uint8_t)((((HVvolts >> 8) & 0xFFU) << 4) |
                          ((HVvolts & 0xFFU) >> 4));
  }

  for (uint8_t i = 0U; i < 4U; i++)
  {
    dbg_tx22A[i] = buffer[i];
  }
  can_queue_frame(&header, buffer);

      // =========================================================================
        // 3. ОТПРАВКА ПАКЕТА 0x22D (DC-DC Control Profile)
        // =========================================================================
        header.StdId = 0x22D;
        header.DLC = 8;
        buffer[0] = 0x01;
        buffer[1] = VOLTAGE_DCDC & 0xFF;
        buffer[2] = (VOLTAGE_DCDC >> 8) & 0xFF;
        buffer[3] = 0x00;
        buffer[4] = 0x00;
        buffer[5] = 0x00;
        buffer[6] = pcs_counter;
        PCS_cksum_local(buffer, 0x22D);
        can_queue_frame(&header, buffer);

        // =========================================================================
          // 4. ОТПРАВКА ПАКЕТА 0x12D (Vehicle Mode Drive Readiness)
          // =========================================================================
          header.StdId = 0x12D;
          header.DLC = 8;
          buffer[0] = 0x03; buffer[1] = 0x00; buffer[2] = 0x00;
          buffer[3] = 0x00; buffer[4] = 0x00; buffer[5] = 0x00;
          buffer[6] = pcs_counter;
          PCS_cksum_local(buffer, 0x12D);
          can_queue_frame(&header, buffer);

  // 4. 0x115: Inverter Emulation Target
  //header.StdId = 0x115;
  //buffer[0] = 0x05; buffer[1] = 0x20; buffer[2] = 0x00;
  //buffer[3] = 0x00; buffer[4] = 0x00; buffer[5] = 0x00;
  //buffer[6] = pcs_counter;
  //PCS_cksum_local(buffer, 0x115);
  //can_queue_frame(&header, buffer);

            // =========================================================================
            // 5. BMS log2 message  This msg changed drastically between 2019 and 2020-2021 model firmwares. PCS pays close attention to these two muxes.
            // =========================================================================
            header.StdId = 0x3B2;
            header.DLC = 8;

            if(mux3b2)
            {
            	   buffer[0]=0xE5;  //mux 5=charging.
            	   buffer[1]=0x0D;
            	   buffer[2]=0xEB;
            	   buffer[3]=0xFF;
            	   buffer[4]=0x0C;
            	   buffer[5]=0x66;
            	   buffer[6]=0xBB;
            	   buffer[7]=0x11;

                   can_queue_frame(&header, buffer);

            	mux3b2 = false;
            }
            else
            {
            	buffer[0]=0xE3;  //mux 3=charge termination
            	buffer[1]=0x5D;
            	buffer[2]=0xFB;
            	buffer[3]=0xFF;
            	buffer[4]=0x0C;
            	buffer[5]=0x66;
            	buffer[6]=0xBB;
            	buffer[7]=0x06;

                can_queue_frame(&header, buffer);

            	mux3b2 = true;
            }

}

void send_mes_50(void)
{
  CAN_TxHeaderTypeDef header = {0};
  uint8_t buffer[8] = {0};

  header.IDE = CAN_ID_STD;
  header.RTR = CAN_RTR_DATA;
  header.ExtId = 0;
  //===============================================

  // =========================================================================
  // 5. VCFront
  // =========================================================================
  header.StdId = 0x545;
  header.DLC = 8;

  if(mux545)
  {
    buffer[0] = 0x14;
    buffer[1] = 0x00;
    buffer[2] = 0x3F;
    buffer[3] = 0x70;
    buffer[4] = 0x9F;
    buffer[5] = 0x01;
    buffer[6] =((Count545 << 4) | 0xA);

    PCS_cksum_local(buffer, 0x545);

    can_queue_frame(&header, buffer);

    mux545 = false;
  }
  else
  {
    buffer[0] = 0x03;
    buffer[1] = 0x19;
    buffer[2] = 0x64;
    buffer[3] = 0x32;
    buffer[4] = 0x19;
    buffer[5] = 0x00;
    buffer[6] = (Count545 << 4);

    PCS_cksum_local(buffer, 0x545);

    can_queue_frame(&header, buffer);

    mux545 = true;
  }

  Count545++;
  if(Count545 > 0x0F) Count545 = 0;

}//======END SEND 50ms==============================================

void send_mes_100(void)
{

  CAN_TxHeaderTypeDef header = {0};
  uint8_t buffer[8] = {0};
  PCS_ChargePortProfile chargePortProfile =
      (pcs_charge_port_profile == (uint8_t)PCS_CHARGE_PORT_EU)
          ? PCS_CHARGE_PORT_EU : PCS_CHARGE_PORT_US;

  header.IDE = CAN_ID_STD;
  header.RTR = CAN_RTR_DATA;
  header.ExtId = 0;
  //------------------------------------------------------------

  if (controlState == PCS_STATE_RAMP || controlState == PCS_STATE_CHARGING)
    {
      // Передаем переменную CHGpwr, которая плавно растет в автомате состояний,
      // и флаг активности "1".
      PCS_Send_Power_Request(CHGpwr, 1);
    }
    else
    {
      // В режимах Standby, Fault или Boot жестко просим 0 Ватт и шлем команду "0"
      PCS_Send_Power_Request(0, 0);
    }

                  // =========================================================================
                  // 5. UI charge request message. Can be used as an ac current limit.
                  // =========================================================================
                  header.StdId = 0x333;
                  header.DLC = 5;
                  PCS_Encode333(buffer, CHARGE_UI_CAPABILITY_A);
                  for (uint8_t i = 0U; i < 5U; i++)
                  {
                    dbg_tx333[i] = buffer[i];
                  }
                  can_queue_frame(&header, buffer);

  header.StdId = 0x115;
  header.DLC = 8;
  header.RTR = CAN_RTR_DATA;
  buffer[0] = 0x20; // Режим Паркинг (Park)
  buffer[1] = 0x00;
  buffer[2] = 0x01; // Цепь безопасности замкнута
  buffer[3] = 0x00;
  buffer[4] = 0x00;
  buffer[5] = 0x00;
  buffer[6] = 0x00;
  buffer[7] = 0x00;
  can_queue_frame(&header, buffer);

        // =========================================================================
        // 5. BMS Contactor request.Static msg.
        // =========================================================================
        header.StdId = 0x232;
        header.DLC = 8;

        buffer[0]=0x0A;
        buffer[1]=0x02;
        buffer[2]=0xD5;
        buffer[3]=0x09;
        buffer[4]=0xCB;
        buffer[5]=0x04;
        buffer[6]=0x00;
        buffer[7]=0x00;

        can_queue_frame(&header, buffer);

          // =========================================================================
          // 5. VCFront vehicle status This message contains the 12v dcdc target setpoint. bits 16-26 as an 11bit unsigned int. scale 0.01
          // =========================================================================
          header.StdId = 0x3A1;
          header.DLC = 8;

          buffer[0] = 0x09;
          buffer[1] = 0x62;
          buffer[2] = VOLTAGE_DCDC & 0xFF;//78 , d gives us a 14v target 0x78;
          buffer[3] = ((VOLTAGE_DCDC >> 8)|0x99);//0x9D;0x9D;
          buffer[4] = 0x08;
          buffer[5] = 0x2C;
          buffer[6] = 0x12;
          buffer[7] = 0x5A;
          can_queue_frame(&header, buffer);

  // =========================================================================
  // 5. VCFront sensors. Static.
  // =========================================================================
  header.StdId = 0x321;
  header.DLC = 8;
  buffer[0] = 0x2C;
  buffer[1] = 0xB6;
  buffer[2] = 0xA8;
  buffer[3] = 0x7F;
  buffer[4] = 0x02;
  buffer[5] = 0x7F;
  buffer[6] = 0x00;
  buffer[7] = 0x00;
  can_queue_frame(&header, buffer);

    // =========================================================================
    // 5. CP Status. The port type must match the 0x21D pilot profile.
    // =========================================================================
    header.StdId = 0x25D;
    header.DLC = 8;
    PCS_Encode25D(buffer, chargePortProfile);
    for (uint8_t i = 0U; i < 8U; i++)
    {
      dbg_tx25D[i] = buffer[i];
    }
    can_queue_frame(&header, buffer);

    /* Post-2020 CP charge status required by this 32 A single-phase PCS. */
    header.StdId = 0x23D;
    header.DLC = 4;
    PCS_Encode23D(buffer, ACILim,
        controlState == PCS_STATE_RAMP || controlState == PCS_STATE_CHARGING);
    for (uint8_t i = 0U; i < 4U; i++)
    {
      dbg_tx23D[i] = buffer[i];
    }
    can_queue_frame(&header, buffer);

    /* Keep the coherent Euro IEC line-charge profile. */
    header.StdId = 0x21D;
    header.DLC = 8;
    PCS_Encode21D(buffer, ACILim, CHARGE_CABLE_CAPABILITY_A,
                  chargePortProfile);
    for (uint8_t i = 0U; i < 8U; i++)
    {
      dbg_tx21D[i] = buffer[i];
    }
    can_queue_frame(&header, buffer);

      // =========================================================================
      // 5. ОТПРАВКА ПАКЕТА 0x20A (BMS Log Telemetry)
      // =========================================================================
      header.StdId = 0x20A;
      header.DLC = 6;
      buffer[0] = 0xF6;//0x55; // Статус BMS: Контакторы замкнуты
      buffer[1] = 0x15;//0x00;
      buffer[2] = 0x09;//0xD0; // Разрешение на разряд/заряд силовой сети
      buffer[3] = 0x82;//0x07; // Флаг готовности высоковольтной системы к току
      buffer[4] = 0x18;//0x00;
      buffer[5] = 0x01;//0x00;
      //buffer[6] = 0x00;
      //buffer[7] = 0x00;

      can_queue_frame(&header, buffer);

      // =========================================================================
      // 5. BMS status. Static msg
      // =========================================================================
      header.StdId = 0x212;
      header.DLC = 8;
      buffer[0] = 0xB9;
      buffer[1] = 0x1C;
      buffer[2] = 0x94;
      buffer[3] = 0xAD;
      buffer[4] = 0xC3;//0xC1;
      buffer[5] = 0x15;
      buffer[6] = 0x06;//0x36;
      buffer[7] = 0x63;//0x6B;
      can_queue_frame(&header, buffer);

      }
//Конец отправки CAN пакетов========================================================================

// ТАЙМЕР TIM_1 10msec========================================================
void HAL_TIM_PeriodElapsedCallback(TIM_HandleTypeDef *htim)
{
  static uint8_t secondTicks = 0;
  if(htim->Instance != TIM1) { return; }

  if (task10ms) { schedulerMisses++; }
  task10ms = true;

  msec_50++;
  if(msec_50 >= 5U)
  {
    msec_50 = 0;
    if (task50ms) { schedulerMisses++; }
    task50ms = true;
  }

  msec_100++;
  if(msec_100 >= 10U)
  {
    msec_100 = 0;
    if (task100ms) { schedulerMisses++; }
    task100ms = true;

    if(t_buzzer != 0U)
    {
      t_buzzer--;
      if(t_buzzer == 0U) { buzzer_off; }
    }

    msec++;
    if(msec >= 25U)
    {
      msec = 0;
      upd_disp = 1;
    }

    secondTicks++;
    if(secondTicks >= 10U)
    {
      secondTicks = 0;
      seconds++;
    }
  }
}

void HAL_CAN_ErrorCallback(CAN_HandleTypeDef *canHandle)
{
  canErrorEvents++;
  canLastError = HAL_CAN_GetError(canHandle);
  canLastEsr = canHandle->Instance->ESR;
  HAL_CAN_ResetError(canHandle);
}

/* USER CODE END 0 */

int main(void)
{

  /* MCU Configuration--------------------------------------------------------*/

  /* Reset of all peripherals, Initializes the Flash interface and the Systick. */
  HAL_Init();

  /* Configure the system clock */
  SystemClock_Config();

  /* Initialize all configured peripherals */
  MX_GPIO_Init();
  MX_ADC1_Init();
  MX_CAN_Init();
  MX_SPI1_Init();
  MX_TIM1_Init();
  MX_TIM2_Init();
  /* USER CODE BEGIN 2 */
//=====================================================================================
  pcs_w = 1; pcs_on;
    dcdc_w = 1; dcdc_on;
    chg_w = 0; chg_off;

    pcs_charge_port_profile = (uint8_t)PCS_CHARGE_PORT_PROFILE;
    CHGpwr = 0;
    update_charge_setpoints();
    Short2B2 = (PCS_2B2_START_SHORT != 0U);

    buzzer_on; t_buzzer = 2;

    HAL_TIM_Base_Start_IT(&htim1);
    HAL_TIM_Base_Start(&htim2);
    HAL_TIM_PWM_Start(&htim2, TIM_CHANNEL_3);

    if (HAL_CAN_Start(&hcan) != HAL_OK) { Error_Handler(); }
    if (HAL_CAN_ActivateNotification(&hcan,
        CAN_IT_RX_FIFO0_MSG_PENDING | CAN_IT_ERROR | CAN_IT_BUSOFF | CAN_IT_LAST_ERROR_CODE) != HAL_OK)
    {
      Error_Handler();
    }

    HAL_Delay(10);
    __enable_irq();

    AFIO->MAPR |= AFIO_MAPR_SWJ_CFG_JTAGDISABLE;
    led_level = 50;

    HAL_Delay(200);
    ILI9341_Init();
    ILI9341_FillScreen(ILI9341_BLACK);
    set_control_state(PCS_STATE_BOOT);
    /* USER CODE END 2 */

    /* Infinite loop */
    /* USER CODE BEGIN WHILE */
    ILI9341_WriteString(70, 0, FIRMWARE_LABEL, Font_16x26, ILI9341_GREEN, ILI9341_BLACK);
    ILI9341_WriteString(0, 30, "PCS:", Font_11x18, ILI9341_WHITE, ILI9341_BLACK);
    ILI9341_WriteString(0, 50, "DC-DC:", Font_11x18, ILI9341_WHITE, ILI9341_BLACK);
    ILI9341_WriteString(0, 70, "CHARGER:", Font_11x18, ILI9341_WHITE, ILI9341_BLACK);
    ILI9341_WriteString(0, 90, "I set/PCS=", Font_11x18, ILI9341_WHITE, ILI9341_BLACK);
    ILI9341_WriteString(0, 110, "AC power=", Font_11x18, ILI9341_WHITE, ILI9341_BLACK);
    ILI9341_WriteString(0, 130, "AC volts=", Font_11x18, ILI9341_WHITE, ILI9341_BLACK);
    ILI9341_WriteString(0, 150, "AC amps=", Font_11x18, ILI9341_WHITE, ILI9341_BLACK);
    ILI9341_WriteString(0, 170, "DC-DC amps=", Font_11x18, ILI9341_WHITE, ILI9341_BLACK);
    ILI9341_WriteString(0, 190, "U hv=", Font_11x18, ILI9341_WHITE, ILI9341_BLACK);
    ILI9341_WriteString(0, 210, "U lv=", Font_11x18, ILI9341_WHITE, ILI9341_BLACK);
    ILI9341_WriteString(0, 230, "STATE=", Font_7x10, ILI9341_CYAN, ILI9341_BLACK);
    ILI9341_WriteString(0, 245, "P/CAN=", Font_7x10, ILI9341_CYAN, ILI9341_BLACK);
    ILI9341_WriteString(0, 260, "RX=", Font_7x10, ILI9341_CYAN, ILI9341_BLACK);
    ILI9341_WriteString(120, 260, "ERR=", Font_7x10, ILI9341_CYAN, ILI9341_BLACK);
    ILI9341_WriteString(0, 275, "QOV=", Font_7x10, ILI9341_CYAN, ILI9341_BLACK);
    ILI9341_WriteString(120, 275, "MISS=", Font_7x10, ILI9341_CYAN, ILI9341_BLACK);
    ILI9341_WriteString(0, 290, "264 224 2C4 M H G P V R C U AL", Font_7x10, ILI9341_CYAN, ILI9341_BLACK);

	while (1)
	{
		  _Bool run10 = false;
			  _Bool run50 = false;
			  _Bool run100 = false;

			  // Безопасно забираем флаги таймеров из прерывания, сбрасывая ТОЛЬКО те, что реально сработали
			  __disable_irq();
			  if (task10ms)  { run10 = true;  task10ms = false;  }
			  if (task50ms)  { run50 = true;  task50ms = false;  }
			  if (task100ms) { run100 = true; task100ms = false; }
			  __enable_irq();

			  // 1. Исполнение быстрых 10мс задач (Отправка пакетов 0x22A, 0x13D, 0x22D)
			  if (run10)
			  {
			    send_mes_10();
			  }

			  // 2. Исполнение 50мс задач (Эмуляция VCFront 0x545)
			  if (run50)
			  {
			    send_mes_50();
			  }

			  // 3. Исполнение медленных 100мс задач (Автомат состояний, Мощность 0x2B2, Лимиты 0x21D)
			  if (run100)
			  {
			    control_step_100ms();
			    send_mes_100();
			  }

			  // Проверяем и обслуживаем кольцевую очередь отправки CAN
			  can_service_tx();

	  if(upd_disp==1)    //если пришло время обновить дисплей
	  {

		  get_HV();

          if(pcs_w==1){ILI9341_WriteString(90,30,"ON ",Font_11x18,ILI9341_WHITE,ILI9341_BLACK);}else{ILI9341_WriteString(90,30,"OFF",Font_11x18,ILI9341_WHITE,ILI9341_BLACK);};
          if(dcdc_w==1){ILI9341_WriteString(90,50,"ON ",Font_11x18,ILI9341_WHITE,ILI9341_BLACK);}else{ILI9341_WriteString(90,50,"OFF",Font_11x18,ILI9341_WHITE,ILI9341_BLACK);};
          if(chg_w==1){ILI9341_WriteString(90,70,"ON ",Font_11x18,ILI9341_WHITE,ILI9341_BLACK);}else{ILI9341_WriteString(90,70,"OFF",Font_11x18,ILI9341_WHITE,ILI9341_BLACK);};

          ILI9341_WriteString(160,0,"   %",Font_16x26,ILI9341_CYAN,ILI9341_BLACK);
          ILI9341_DrawChar(160,0,cell_SOC, Font_16x26, ILI9341_CYAN,ILI9341_BLACK);

          ILI9341_WriteString(110,90,"          ", Font_11x18, ILI9341_WHITE,ILI9341_BLACK);
          ILI9341_WriteString(100,110,"   ", Font_11x18, ILI9341_WHITE,ILI9341_BLACK);
          ILI9341_WriteString(100,130,"   ", Font_11x18, ILI9341_WHITE,ILI9341_BLACK);
          ILI9341_WriteString(100,150,"   ", Font_11x18, ILI9341_WHITE,ILI9341_BLACK);

          ILI9341_DrawChar(110,90,CHGcurrentAppliedA, Font_11x18, ILI9341_WHITE,ILI9341_BLACK);
          ILI9341_WriteString(150,90,"/", Font_11x18, ILI9341_WHITE,ILI9341_BLACK);
          ILI9341_DrawChar(170,90,pcs_ac_current_request_amps, Font_11x18, ILI9341_WHITE,ILI9341_BLACK);
          ILI9341_DrawChar(100,110,ACpwr, Font_11x18, ILI9341_WHITE,ILI9341_BLACK);
          ILI9341_DrawChar(100,130,ACvolts, Font_11x18, ILI9341_WHITE,ILI9341_BLACK);
          ILI9341_DrawChar(100,150,ACamps, Font_11x18, ILI9341_WHITE,ILI9341_BLACK);

          ILI9341_DrawChar(130,170,DCDCamps, Font_11x18, ILI9341_WHITE,ILI9341_BLACK);

          ILI9341_DrawChar(100,190,HVvolts, Font_11x18, ILI9341_WHITE,ILI9341_BLACK);
          ILI9341_DrawChar(100,210,LVvolts, Font_11x18, ILI9341_WHITE,ILI9341_BLACK);

	          ILI9341_WriteString(55,230,"    ",Font_7x10,ILI9341_WHITE,ILI9341_BLACK);
	          ILI9341_DrawChar(55,230,controlState, Font_7x10, ILI9341_WHITE,ILI9341_BLACK);
	          ILI9341_WriteString(45,245,"                  ",Font_7x10,ILI9341_WHITE,ILI9341_BLACK);
	          ILI9341_DrawChar(45,245,CHGdesiredPowerTargetW, Font_7x10, ILI9341_WHITE,ILI9341_BLACK);
	          ILI9341_WriteString(78,245,"/",Font_7x10,ILI9341_WHITE,ILI9341_BLACK);
	          ILI9341_DrawChar(87,245,CHGpwr, Font_7x10, ILI9341_WHITE,ILI9341_BLACK);
	          ILI9341_WriteString(122,245,"x",Font_7x10,ILI9341_WHITE,ILI9341_BLACK);
	          ILI9341_DrawChar(132,245,CHGpowerRequestMultiplier, Font_7x10, ILI9341_WHITE,ILI9341_BLACK);
	          ILI9341_WriteString(25,260,"          ",Font_7x10,ILI9341_WHITE,ILI9341_BLACK);
	          ILI9341_DrawChar(25,260,rxmess, Font_7x10, ILI9341_WHITE,ILI9341_BLACK);
	          ILI9341_WriteString(150,260,"        ",Font_7x10,ILI9341_WHITE,ILI9341_BLACK);
	          ILI9341_DrawChar(150,260,canLastError, Font_7x10, ILI9341_WHITE,ILI9341_BLACK);
	          ILI9341_WriteString(30,275,"        ",Font_7x10,ILI9341_WHITE,ILI9341_BLACK);
	          ILI9341_DrawChar(30,275,canTxQueueOverflows, Font_7x10, ILI9341_WHITE,ILI9341_BLACK);
	          ILI9341_WriteString(155,275,"        ",Font_7x10,ILI9341_WHITE,ILI9341_BLACK);
	          ILI9341_DrawChar(155,275,schedulerMisses, Font_7x10, ILI9341_WHITE,ILI9341_BLACK);

		          ILI9341_WriteString(0,305,"                                  ",Font_7x10,ILI9341_WHITE,ILI9341_BLACK);
		          ILI9341_DrawChar(0,305,RX264, Font_7x10, ILI9341_WHITE,ILI9341_BLACK);
		          ILI9341_DrawChar(28,305,RX224, Font_7x10, ILI9341_WHITE,ILI9341_BLACK);
		          ILI9341_DrawChar(56,305,RX2C4, Font_7x10, ILI9341_WHITE,ILI9341_BLACK);
		          ILI9341_DrawChar(84,305,pcs_main_state, Font_7x10, ILI9341_WHITE,ILI9341_BLACK);
		          ILI9341_DrawChar(105,305,pcs_hv_charge_status, Font_7x10, ILI9341_WHITE,ILI9341_BLACK);
		          ILI9341_DrawChar(126,305,pcs_grid_config, Font_7x10, ILI9341_WHITE,ILI9341_BLACK);
		          ILI9341_DrawChar(147,305,pcs_pwm_enable_line, Font_7x10, ILI9341_WHITE,ILI9341_BLACK);
		          ILI9341_DrawChar(161,305,pcs_alert_vcfront_mia_active, Font_7x10, ILI9341_YELLOW,ILI9341_BLACK);
		          ILI9341_DrawChar(175,305,pcs_alert_charge_power_rationality_active, Font_7x10, ILI9341_YELLOW,ILI9341_BLACK);
		          ILI9341_DrawChar(189,305,pcs_alert_can_rationality_active, Font_7x10, ILI9341_YELLOW,ILI9341_BLACK);
		          ILI9341_DrawChar(203,305,pcs_alert_ui_mia_active, Font_7x10, ILI9341_YELLOW,ILI9341_BLACK);
		          ILI9341_DrawChar(213,305,pcs_last_alert_id, Font_7x10, ILI9341_YELLOW,ILI9341_BLACK);

          RX264=0;RX224=0;RX2C4=0;

		upd_disp=0;
	  };

    /* USER CODE END WHILE */

  }
}

void SystemClock_Config(void)
{
  RCC_OscInitTypeDef RCC_OscInitStruct = {0};
  RCC_ClkInitTypeDef RCC_ClkInitStruct = {0};
  RCC_PeriphCLKInitTypeDef PeriphClkInit = {0};

  /** Initializes the RCC Oscillators according to the specified parameters
  * in the RCC_OscInitTypeDef structure.
  */
  RCC_OscInitStruct.OscillatorType = RCC_OSCILLATORTYPE_HSI;
  RCC_OscInitStruct.HSIState = RCC_HSI_ON;
  RCC_OscInitStruct.HSICalibrationValue = RCC_HSICALIBRATION_DEFAULT;
  RCC_OscInitStruct.PLL.PLLState = RCC_PLL_ON;
  RCC_OscInitStruct.PLL.PLLSource = RCC_PLLSOURCE_HSI_DIV2;
  RCC_OscInitStruct.PLL.PLLMUL = RCC_PLL_MUL16;
  if (HAL_RCC_OscConfig(&RCC_OscInitStruct) != HAL_OK)
  {
    Error_Handler();
  }

  /** Initializes the CPU, AHB and APB buses clocks
  */
  RCC_ClkInitStruct.ClockType = RCC_CLOCKTYPE_HCLK|RCC_CLOCKTYPE_SYSCLK
                              |RCC_CLOCKTYPE_PCLK1|RCC_CLOCKTYPE_PCLK2;
  RCC_ClkInitStruct.SYSCLKSource = RCC_SYSCLKSOURCE_PLLCLK;
  RCC_ClkInitStruct.AHBCLKDivider = RCC_SYSCLK_DIV1;
  RCC_ClkInitStruct.APB1CLKDivider = RCC_HCLK_DIV2;
  RCC_ClkInitStruct.APB2CLKDivider = RCC_HCLK_DIV1;

  if (HAL_RCC_ClockConfig(&RCC_ClkInitStruct, FLASH_LATENCY_2) != HAL_OK)
  {
    Error_Handler();
  }
  PeriphClkInit.PeriphClockSelection = RCC_PERIPHCLK_ADC;
  PeriphClkInit.AdcClockSelection = RCC_ADCPCLK2_DIV8;
  if (HAL_RCCEx_PeriphCLKConfig(&PeriphClkInit) != HAL_OK)
  {
    Error_Handler();
  }
}

static void MX_ADC1_Init(void)
{

  ADC_ChannelConfTypeDef sConfig = {0};

  /** Common config
  */
  hadc1.Instance = ADC1;
  hadc1.Init.ScanConvMode = ADC_SCAN_DISABLE;
  hadc1.Init.ContinuousConvMode = DISABLE;
  hadc1.Init.DiscontinuousConvMode = DISABLE;
  hadc1.Init.ExternalTrigConv = ADC_SOFTWARE_START;
  hadc1.Init.DataAlign = ADC_DATAALIGN_RIGHT;
  hadc1.Init.NbrOfConversion = 1;
  if (HAL_ADC_Init(&hadc1) != HAL_OK)
  {
    Error_Handler();
  }

  /** Configure Regular Channel
  */
  sConfig.Channel = ADC_CHANNEL_0;
  sConfig.Rank = ADC_REGULAR_RANK_1;
  sConfig.SamplingTime = ADC_SAMPLETIME_1CYCLE_5;
  if (HAL_ADC_ConfigChannel(&hadc1, &sConfig) != HAL_OK)
  {
    Error_Handler();
  }

}

static void MX_CAN_Init(void)
{

  /* USER CODE BEGIN CAN_Init 0 */
	CAN_FilterTypeDef  sFilterConfig;
  /* USER CODE END CAN_Init 0 */

  hcan.Instance = CAN1;
  hcan.Init.Prescaler = 4;
  hcan.Init.Mode = CAN_MODE_NORMAL;
  hcan.Init.SyncJumpWidth = CAN_SJW_1TQ;
  hcan.Init.TimeSeg1 = CAN_BS1_13TQ;
  hcan.Init.TimeSeg2 = CAN_BS2_2TQ;
  hcan.Init.TimeTriggeredMode = DISABLE;
  hcan.Init.AutoBusOff = DISABLE;
  hcan.Init.AutoWakeUp = DISABLE;
  hcan.Init.AutoRetransmission = ENABLE;
  hcan.Init.ReceiveFifoLocked = DISABLE;
  hcan.Init.TransmitFifoPriority = ENABLE;
  if (HAL_CAN_Init(&hcan) != HAL_OK)
  {
    Error_Handler();
  }
  /* USER CODE BEGIN CAN_Init 2 */
    sFilterConfig.FilterBank = 0;
    sFilterConfig.FilterMode = CAN_FILTERMODE_IDMASK;
    sFilterConfig.FilterScale = CAN_FILTERSCALE_32BIT;
    sFilterConfig.FilterIdHigh = 0x0000;
    sFilterConfig.FilterIdLow = 0x0000;
    sFilterConfig.FilterMaskIdHigh = 0x0000;
    sFilterConfig.FilterMaskIdLow = 0x0000;
    sFilterConfig.FilterFIFOAssignment = CAN_RX_FIFO0;
    sFilterConfig.FilterActivation = ENABLE;
    //sFilterConfig.SlaveStartFilterBank = 14;

    if(HAL_CAN_ConfigFilter(&hcan, &sFilterConfig) != HAL_OK)
    {
    Error_Handler();
    }
  /* USER CODE END CAN_Init 2 */

}

static void MX_SPI1_Init(void)
{

  /* SPI1 parameter configuration*/
  hspi1.Instance = SPI1;
  hspi1.Init.Mode = SPI_MODE_MASTER;
  hspi1.Init.Direction = SPI_DIRECTION_2LINES;
  hspi1.Init.DataSize = SPI_DATASIZE_8BIT;
  hspi1.Init.CLKPolarity = SPI_POLARITY_LOW;
  hspi1.Init.CLKPhase = SPI_PHASE_1EDGE;
  hspi1.Init.NSS = SPI_NSS_SOFT;
  hspi1.Init.BaudRatePrescaler = SPI_BAUDRATEPRESCALER_4;
  hspi1.Init.FirstBit = SPI_FIRSTBIT_MSB;
  hspi1.Init.TIMode = SPI_TIMODE_DISABLE;
  hspi1.Init.CRCCalculation = SPI_CRCCALCULATION_DISABLE;
  hspi1.Init.CRCPolynomial = 10;
  if (HAL_SPI_Init(&hspi1) != HAL_OK)
  {
    Error_Handler();
  }

}

static void MX_TIM1_Init(void)
{

  TIM_ClockConfigTypeDef sClockSourceConfig = {0};
  TIM_MasterConfigTypeDef sMasterConfig = {0};

  htim1.Instance = TIM1;
  htim1.Init.Prescaler = 639;
  htim1.Init.CounterMode = TIM_COUNTERMODE_UP;
  htim1.Init.Period = 999;
  htim1.Init.ClockDivision = TIM_CLOCKDIVISION_DIV1;
  htim1.Init.RepetitionCounter = 0;
  htim1.Init.AutoReloadPreload = TIM_AUTORELOAD_PRELOAD_DISABLE;
  if (HAL_TIM_Base_Init(&htim1) != HAL_OK)
  {
    Error_Handler();
  }
  sClockSourceConfig.ClockSource = TIM_CLOCKSOURCE_INTERNAL;
  if (HAL_TIM_ConfigClockSource(&htim1, &sClockSourceConfig) != HAL_OK)
  {
    Error_Handler();
  }
  sMasterConfig.MasterOutputTrigger = TIM_TRGO_RESET;
  sMasterConfig.MasterSlaveMode = TIM_MASTERSLAVEMODE_DISABLE;
  if (HAL_TIMEx_MasterConfigSynchronization(&htim1, &sMasterConfig) != HAL_OK)
  {
    Error_Handler();
  }

}

static void MX_TIM2_Init(void)
{

  TIM_ClockConfigTypeDef sClockSourceConfig = {0};
  TIM_MasterConfigTypeDef sMasterConfig = {0};
  TIM_OC_InitTypeDef sConfigOC = {0};

  htim2.Instance = TIM2;
  htim2.Init.Prescaler = 119;
  htim2.Init.CounterMode = TIM_COUNTERMODE_UP;
  htim2.Init.Period = 100;
  htim2.Init.ClockDivision = TIM_CLOCKDIVISION_DIV1;
  htim2.Init.AutoReloadPreload = TIM_AUTORELOAD_PRELOAD_DISABLE;
  if (HAL_TIM_Base_Init(&htim2) != HAL_OK)
  {
    Error_Handler();
  }
  sClockSourceConfig.ClockSource = TIM_CLOCKSOURCE_INTERNAL;
  if (HAL_TIM_ConfigClockSource(&htim2, &sClockSourceConfig) != HAL_OK)
  {
    Error_Handler();
  }
  if (HAL_TIM_PWM_Init(&htim2) != HAL_OK)
  {
    Error_Handler();
  }
  sMasterConfig.MasterOutputTrigger = TIM_TRGO_RESET;
  sMasterConfig.MasterSlaveMode = TIM_MASTERSLAVEMODE_DISABLE;
  if (HAL_TIMEx_MasterConfigSynchronization(&htim2, &sMasterConfig) != HAL_OK)
  {
    Error_Handler();
  }
  sConfigOC.OCMode = TIM_OCMODE_PWM1;
  sConfigOC.Pulse = 18;
  sConfigOC.OCPolarity = TIM_OCPOLARITY_HIGH;
  sConfigOC.OCFastMode = TIM_OCFAST_DISABLE;
  if (HAL_TIM_PWM_ConfigChannel(&htim2, &sConfigOC, TIM_CHANNEL_3) != HAL_OK)
  {
    Error_Handler();
  }
  HAL_TIM_MspPostInit(&htim2);

}

static void MX_GPIO_Init(void)
{
  GPIO_InitTypeDef GPIO_InitStruct = {0};

  /* GPIO Ports Clock Enable */
  __HAL_RCC_GPIOC_CLK_ENABLE();
  __HAL_RCC_GPIOD_CLK_ENABLE();
  __HAL_RCC_GPIOA_CLK_ENABLE();
  __HAL_RCC_GPIOB_CLK_ENABLE();

  /*Configure GPIO pin Output Level */
  HAL_GPIO_WritePin(GPIOC, PIN_CHG_Pin|PIN_DCDC_Pin, GPIO_PIN_RESET);

  /*Configure GPIO pin Output Level */
  HAL_GPIO_WritePin(PIN_PilotDown_GPIO_Port, PIN_PilotDown_Pin, GPIO_PIN_RESET);

  /*Configure GPIO pin Output Level */
  HAL_GPIO_WritePin(GPIOA, PIN_Res_Pin|PIN_DC_Pin|PIN_RS_Pin|PIN_Buzzer_Pin, GPIO_PIN_RESET);

  /*Configure GPIO pin Output Level */
  HAL_GPIO_WritePin(GPIOB, PIN_CS_Pin|PIN_Out2_Pin|PIN_Out1_Pin|PIN_PCS_Pin, GPIO_PIN_RESET);

  /*Configure GPIO pins : PIN_CHG_Pin PIN_DCDC_Pin */
  GPIO_InitStruct.Pin = PIN_CHG_Pin|PIN_DCDC_Pin;
  GPIO_InitStruct.Mode = GPIO_MODE_OUTPUT_PP;
  GPIO_InitStruct.Pull = GPIO_NOPULL;
  GPIO_InitStruct.Speed = GPIO_SPEED_FREQ_LOW;
  HAL_GPIO_Init(GPIOC, &GPIO_InitStruct);

  /*Configure GPIO pin : PIN_PilotDown_Pin */
  GPIO_InitStruct.Pin = PIN_PilotDown_Pin;
  GPIO_InitStruct.Mode = GPIO_MODE_OUTPUT_PP;
  GPIO_InitStruct.Pull = GPIO_NOPULL;
  GPIO_InitStruct.Speed = GPIO_SPEED_FREQ_LOW;
  HAL_GPIO_Init(PIN_PilotDown_GPIO_Port, &GPIO_InitStruct);

  /*Configure GPIO pins : PIN_Res_Pin PIN_DC_Pin PIN_RS_Pin PIN_Buzzer_Pin */
  GPIO_InitStruct.Pin = PIN_Res_Pin|PIN_DC_Pin|PIN_RS_Pin|PIN_Buzzer_Pin;
  GPIO_InitStruct.Mode = GPIO_MODE_OUTPUT_PP;
  GPIO_InitStruct.Pull = GPIO_NOPULL;
  GPIO_InitStruct.Speed = GPIO_SPEED_FREQ_LOW;
  HAL_GPIO_Init(GPIOA, &GPIO_InitStruct);

  /*Configure GPIO pins : PIN_CS_Pin PIN_Out2_Pin PIN_Out1_Pin PIN_PCS_Pin */
  GPIO_InitStruct.Pin = PIN_CS_Pin|PIN_Out2_Pin|PIN_Out1_Pin|PIN_PCS_Pin;
  GPIO_InitStruct.Mode = GPIO_MODE_OUTPUT_PP;
  GPIO_InitStruct.Pull = GPIO_NOPULL;
  GPIO_InitStruct.Speed = GPIO_SPEED_FREQ_LOW;
  HAL_GPIO_Init(GPIOB, &GPIO_InitStruct);

  /*Configure GPIO pins : PIN_In2_Pin PIN_In1_Pin */
  GPIO_InitStruct.Pin = PIN_In2_Pin|PIN_In1_Pin;
  GPIO_InitStruct.Mode = GPIO_MODE_INPUT;
  GPIO_InitStruct.Pull = GPIO_NOPULL;
  HAL_GPIO_Init(GPIOB, &GPIO_InitStruct);

  /*Configure GPIO pins : PIN_Sb_up_Pin PIN_Sb_down_Pin PIN_Sb_left_Pin PIN_Sb_right_Pin
                           PIN_Sb_ok_Pin PIN_power_on_Pin */
  GPIO_InitStruct.Pin = PIN_Sb_up_Pin|PIN_Sb_down_Pin|PIN_Sb_left_Pin|PIN_Sb_right_Pin
                          |PIN_Sb_ok_Pin|PIN_power_on_Pin;
  GPIO_InitStruct.Mode = GPIO_MODE_INPUT;
  GPIO_InitStruct.Pull = GPIO_PULLUP;
  HAL_GPIO_Init(GPIOB, &GPIO_InitStruct);

  /*Configure peripheral I/O remapping */
  __HAL_AFIO_REMAP_PD01_ENABLE();

}

void Error_Handler(void)
{
  __disable_irq();
  while (1)
  {
  }
}
